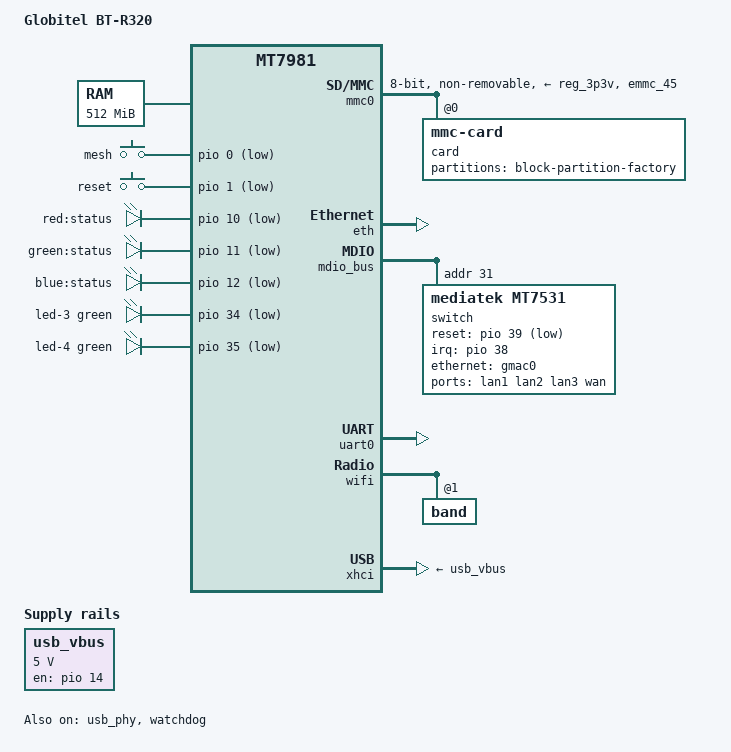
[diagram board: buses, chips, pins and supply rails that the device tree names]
// SPDX-License-Identifier: GPL-2.0-or-later OR MIT
/*
 * Globitel BT-R320 (MT7981B + MT7531AE + 128GB eMMC)
 *
 * 移植自 EasongChung/Actions-BT-R320-Immortalwrt-6.6 的
 * mt7981b-globitel-bt-r320-emmc.dts，按本仓库（内核 6.18 / mt7981.dtsi）的写法整理：
 *   - SoC: MediaTek MT7981B
 *   - RAM: 512MB（DTS 声明，硬件实际 1GB，沿用原方案的首启一致性）
 *   - Switch: MediaTek MT7531AE（lan1/2/3 + wan 都在 switch 上）
 *   - WiFi: MediaTek MT7976CN（mt76 / kmod-mt7915e）
 *   - Storage: eMMC（GPT 分区，rootfs 用 PARTLABEL 定位，不依赖 U-Boot 传参）
 *
 * 与原方案的两点差异：
 *   1) switch 用本仓库统一的 &mdio_bus/&switch 写法（mt7531 phy 复位脚在 pio39）；
 *   2) gmac0 显式从 factory 0x4 取 MAC（原方案没写，会导致每次开机 MAC 随机）。
 */

/dts-v1/;
#include <dt-bindings/gpio/gpio.h>
#include <dt-bindings/input/input.h>
#include <dt-bindings/leds/common.h>

#include "mt7981.dtsi"

/ {
	model = "Globitel BT-R320";
	compatible = "globitel,bt-r320", "mediatek,mt7981";

	aliases {
		serial0 = &uart0;
		label-mac-device = &gmac0;
		led-boot = &status_red_led;
		led-failsafe = &status_red_led;
		led-running = &status_green_led;
		led-upgrade = &status_blue_led;
	};

	chosen: chosen {
		bootargs = "root=PARTLABEL=rootfs rootwait rootfstype=squashfs,f2fs";
		stdout-path = "serial0:115200n8";
	};

	memory {
		reg = <0 0x40000000 0 0x20000000>;
	};

	usb_vbus: regulator-usb-vbus {
		compatible = "regulator-fixed";
		regulator-name = "usb_vbus";
		regulator-min-microvolt = <5000000>;
		regulator-max-microvolt = <5000000>;
		gpios = <&pio 14 GPIO_ACTIVE_HIGH>;
		enable-active-high;
		regulator-boot-on;
	};

	gpio-keys {
		compatible = "gpio-keys";

		button-mesh {
			label = "mesh";
			linux,code = <BTN_9>;
			linux,input-type = <EV_KEY>;
			gpios = <&pio 0 GPIO_ACTIVE_LOW>;
		};

		button-reset {
			label = "reset";
			linux,code = <KEY_RESTART>;
			gpios = <&pio 1 GPIO_ACTIVE_LOW>;
		};
	};

	gpio-leds {
		compatible = "gpio-leds";

		status_red_led: led-0 {
			label = "red:status";
			gpios = <&pio 10 GPIO_ACTIVE_LOW>;
		};

		status_green_led: led-1 {
			label = "green:status";
			gpios = <&pio 11 GPIO_ACTIVE_LOW>;
		};

		status_blue_led: led-2 {
			label = "blue:status";
			gpios = <&pio 12 GPIO_ACTIVE_LOW>;
		};

		led-3 {
			function = LED_FUNCTION_WLAN_2GHZ;
			color = <LED_COLOR_ID_GREEN>;
			gpios = <&pio 34 GPIO_ACTIVE_LOW>;
			linux,default-trigger = "phy0tpt";
		};

		led-4 {
			function = LED_FUNCTION_WLAN_5GHZ;
			color = <LED_COLOR_ID_GREEN>;
			gpios = <&pio 35 GPIO_ACTIVE_LOW>;
			linux,default-trigger = "phy1tpt";
		};
	};
};

&mmc0 {
	bus-width = <8>;
	cap-mmc-highspeed;
	max-frequency = <52000000>;
	no-sd;
	no-sdio;
	non-removable;
	pinctrl-names = "default", "state_uhs";
	pinctrl-0 = <&mmc0_pins_default>;
	pinctrl-1 = <&mmc0_pins_uhs>;
	vmmc-supply = <&reg_3p3v>;
	status = "okay";

	card@0 {
		compatible = "mmc-card";
		reg = <0>;

		block {
			compatible = "block-device";

			partitions {
				block-partition-factory {
					partname = "factory";

					nvmem-layout {
						compatible = "fixed-layout";
						#address-cells = <1>;
						#size-cells = <1>;

						eeprom_factory_0: eeprom@0 {
							reg = <0x0 0x1000>;
						};

						macaddr_factory_24: macaddr@24 {
							compatible = "mac-base";
							reg = <0x24 0x6>;
							#nvmem-cell-cells = <1>;
						};

						macaddr_factory_2a: macaddr@2a {
							compatible = "mac-base";
							reg = <0x2a 0x6>;
							#nvmem-cell-cells = <1>;
						};
					};
				};
			};
		};
	};
};

&eth {
	status = "okay";

	gmac0: mac@0 {
		compatible = "mediatek,eth-mac";
		reg = <0>;
		phy-mode = "2500base-x";

		nvmem-cells = <&macaddr_factory_2a 0>;
		nvmem-cell-names = "mac-address";

		fixed-link {
			speed = <2500>;
			full-duplex;
			pause;
		};
	};

	gmac1: mac@1 {
		compatible = "mediatek,eth-mac";
		reg = <1>;
		phy-mode = "2500base-x";

		fixed-link {
			speed = <2500>;
			full-duplex;
			pause;
		};
	};
};

&mdio_bus {
	switch: switch@1f {
		compatible = "mediatek,mt7531";
		reg = <31>;
		reset-gpios = <&pio 39 GPIO_ACTIVE_LOW>;
		interrupt-controller;
		#interrupt-cells = <1>;
		interrupt-parent = <&pio>;
		interrupts = <38 IRQ_TYPE_LEVEL_HIGH>;
	};
};

&switch {
	ports {
		#address-cells = <1>;
		#size-cells = <0>;

		port@1 {
			reg = <1>;
			label = "lan1";
		};

		port@2 {
			reg = <2>;
			label = "lan2";
		};

		port@3 {
			reg = <3>;
			label = "lan3";
		};

		port@4 {
			reg = <4>;
			label = "wan";
			nvmem-cells = <&macaddr_factory_24 0>;
			nvmem-cell-names = "mac-address";
		};

		port@6 {
			reg = <6>;
			ethernet = <&gmac0>;
			phy-mode = "2500base-x";

			fixed-link {
				speed = <2500>;
				full-duplex;
				pause;
			};
		};
	};
};

&pio {
	mmc0_pins_default: mmc0-pins-default {
		mux {
			function = "flash";
			groups = "emmc_45";
		};
	};

	mmc0_pins_uhs: mmc0-pins-uhs {
		mux {
			function = "flash";
			groups = "emmc_45";
		};
	};
};

&uart0 {
	status = "okay";
};

&usb_phy {
	status = "okay";
};

&watchdog {
	status = "okay";
};

&wifi {
	status = "okay";
	nvmem-cells = <&eeprom_factory_0>;
	nvmem-cell-names = "eeprom";

	band@1 {
		reg = <1>;
		nvmem-cells = <&macaddr_factory_2a 1>;
		nvmem-cell-names = "mac-address";
	};
};

&xhci {
	vbus-supply = <&usb_vbus>;
	status = "okay";
};
